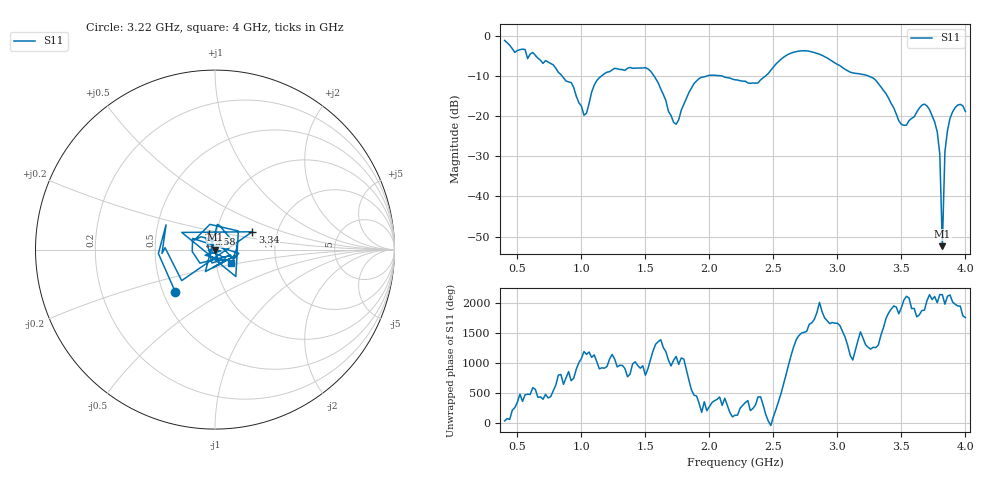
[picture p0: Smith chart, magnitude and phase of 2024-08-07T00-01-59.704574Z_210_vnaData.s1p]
!Created with skrf (http://scikit-rf.org).
# Hz S RI R 50.0
!freq ReS11 ImS11
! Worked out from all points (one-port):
!   181 points, 400 MHz to 4 GHz, reference 50 ohm
!   lowest |S11| = -52.4 dB at 3.82 GHz (marker M1), VSWR 1.00, Z = 50.2 - j0.0641 ohm
!   |S11| at or under -10 dB: 1.566 GHz to 1.986 GHz (419.1 MHz wide, 23.6 % of centre); 2.093 GHz to 2.44 GHz (346.6 MHz wide, 15.3 % of centre); 3.24 GHz to end of sweep (the widest 3 of 4)
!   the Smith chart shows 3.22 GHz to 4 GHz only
!   S11 on the Smith chart (normalised r, x): 3.22 GHz: 0.58, -0.31; 3.34 GHz: 1.49, +0.31; 3.58 GHz: 0.92, +0.16; 4 GHz: 1.18, -0.17
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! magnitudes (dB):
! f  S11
! 400 MHz  -1.2
! 860 MHz  -10.5
! 920 MHz  -11.7
! 1.02 GHz  -19.8
! 1.12 GHz  -11.2
! 1.3 GHz  -8.4
! 1.54 GHz  -8.8
! 1.72 GHz  -21.6
! 1.76 GHz  -21.0
! 1.92 GHz  -10.7
! 2.2 GHz  -11.0
! 2.38 GHz  -11.8
! 2.66 GHz  -4.1
! 2.86 GHz  -4.6
! 3.1 GHz  -9.1
! 3.22 GHz  -9.8
! 3.34 GHz  -12.7
! 3.5 GHz  -22.1
! 3.56 GHz  -21.1
! 3.58 GHz  -20.6
! 3.68 GHz  -17.0
! 3.78 GHz  -23.9
! 3.8 GHz  -29.4
! 3.82 GHz  -52.4
! 3.84 GHz  -28.9
! 3.86 GHz  -23.6
! 3.92 GHz  -17.9
! 4 GHz  -18.9
